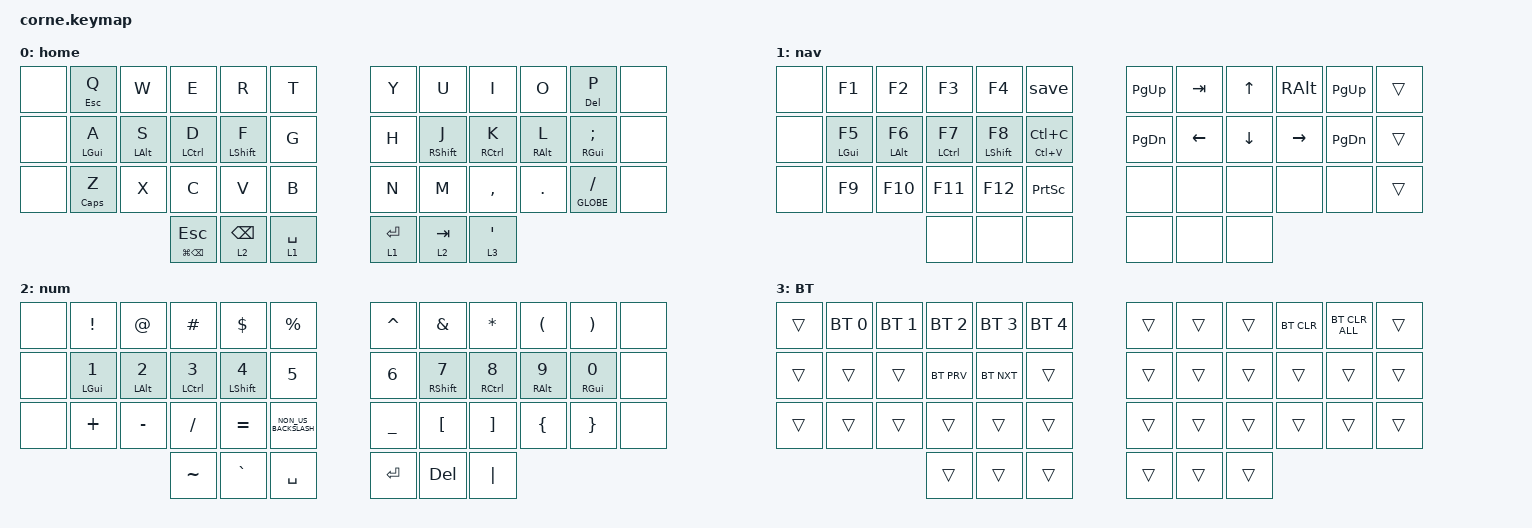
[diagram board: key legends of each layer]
#include <behaviors.dtsi>
#include <dt-bindings/zmk/bt.h>
#include <dt-bindings/zmk/keys.h>

#define DEF 0
#define NAV 1
#define SYM 2
#define ADJ 3
#define EXTRA 4

/ {
    behaviors {
        hm: homerow_mods {
            compatible = "zmk,behavior-hold-tap";
            label = "HOMEROW_MODS";
            #binding-cells = <2>;
            tapping-term-ms = <200>;
            quick_tap_ms = <0>;
            flavor = "tap-preferred";
            bindings = <&kp>, <&kp>;

            quick-tap-ms = <180>;
            global-quick-tap;
        };

        para: para {
            compatible = "zmk,behavior-tap-dance";
            label = "PARA";
            #binding-cells = <0>;
            bindings = <&kp LEFT_PARENTHESIS>, <&kp RIGHT_PARENTHESIS>;
        };

        caps: caps {
            compatible = "zmk,behavior-caps-word";
            label = "CAPS";
            #binding-cells = <0>;
            continue-list = <MINUS BACKSPACE>;
        };

        paraless: paraless {
            compatible = "zmk,behavior-mod-morph";
            label = "PARALESS";
            bindings = <&kp LEFT_PARENTHESIS>, <&kp LESS_THAN>;

            #binding-cells = <0>;
            mods = <(MOD_LSFT)>;
        };

        paragreat: paragreat {
            compatible = "zmk,behavior-mod-morph";
            label = "PARAGREAT";
            bindings = <&kp RIGHT_PARENTHESIS>, <&kp GREATER_THAN>;

            #binding-cells = <0>;
            mods = <(MOD_LSFT)>;
        };

        shifthr: shifthr {
            compatible = "zmk,behavior-hold-tap";
            label = "SHIFTHR";
            bindings = <&kp>, <&kp>;

            #binding-cells = <2>;
            tapping-term-ms = <185>;
            quick-tap-ms = <185>;
            flavor = "tap-preferred";
        };

        weak: weak {
            compatible = "zmk,behavior-hold-tap";
            label = "WEAK";
            bindings = <&kp>, <&kp>;

            #binding-cells = <2>;
            tapping-term-ms = <230>;
            quick-tap-ms = <230>;
            require-prior-idle-ms = <125>;
            flavor = "tap-preferred";
        };
    };

    macros {
        save: save {
            compatible = "zmk,behavior-macro";
            #binding-cells = <0>;
            bindings = <&kp LC(S)>;
            label = "SAVE";
        };
    };

    combos {
        compatible = "zmk,combos";

        under {
            bindings = <&kp UNDER>;
            key-positions = <20 8>;
        };

        minus {
            bindings = <&kp MINUS>;
            key-positions = <19 7>;
        };

        escape {
            bindings = <&kp ESCAPE>;
            key-positions = <16 4>;
        };

        caps {
            bindings = <&kp CAPS>;
            key-positions = <15 3>;
        };

        tilda {
            bindings = <&kt GRAVE>;
            key-positions = <2 14>;
        };
    };

    //

    keymap {
        compatible = "zmk,keymap";

        home {
            display-name = "home";

            // -----------------------------------------------------------------------------------------
            // |  Q  |  W  |  E  |  R  |  T  |   |  Y  |  U   |  I  |  O  |  P  |
            // |  A  |  S  |  D  |  F  |  G  |   |  H  |  J   |  K  |  L  |  ;  |
            // |  Z  |  X  |  C  |  V  |  B  |   |  N  |  M   |  ,  |  .  |  /  |
            // | GUI | CTRL | SHFT | LWR | SPC |   | ENT | RSE  | BKSP | ALT | ESC |

            bindings = <
&none  &weak ESCAPE Q  &kp W         &kp E                     &kp R                  &kp T          &kp Y        &kp U             &kp I             &kp O         &weak DEL P           &none
&none  &weak LGUI A    &weak LALT S  &shifthr LCTRL D          &shifthr LEFT_SHIFT F  &kp G          &kp H        &shifthr RSHFT J  &shifthr RCTRL K  &weak RALT L  &weak RGUI SEMICOLON  &none
&none  &weak CAPS Z    &kp X         &kp C                     &kp V                  &kp B          &kp N        &kp M             &kp COMMA         &kp DOT       &weak GLOBE SLASH     &none
                                     &hm LG(BACKSPACE) ESCAPE  &lt 2 BACKSPACE        &lt 1 SPACE    &lt 1 ENTER  &lt 2 TAB         &lt 3 SQT
            >;
        };

        nav {
            display-name = "nav";

            // -----------------------------------------------------------------------------------------
            // |  TAB |  !  |  @  |  #  |  $  |  %  |   |  ^  |  &  |  *  |  (  |  )  | BKSP |
            // | CTRL |     |     |     |     |     |   |  -  |  =  |  [  |  ]  |  \  |  `   |
            // | SHFT |     |     |     |     |     |   |  _  |  +  |  {  |  }  | "|" |  ~   |
            //                    | GUI |     | SPC |   | ENT |     | ALT |

            bindings = <
&none  &kp F1       &kp F2       &kp F3        &kp F4         &save              &kp PAGE_UP    &kp TAB         &kp UP_ARROW  &kp RALT   &kp PAGE_UP    &trans
&none  &hm LGUI F5  &hm LALT F6  &hm LCTRL F7  &hm LSHIFT F8  &hm LC(V) LC(C)    &kp PAGE_DOWN  &kp LEFT_ARROW  &kp DOWN      &kp RIGHT  &kp PAGE_DOWN  &trans
&none  &kp F9       &kp F10      &kp F11       &kp F12        &kp PSCRN          &none          &none           &none         &none      &none          &trans
                                 &none         &none          &none              &none          &none           &none
            >;
        };

        num {
            display-name = "num";

            // -----------------------------------------------------------------------------------------
            // |  TAB |  1  |  2  |  3  |  4  |  5  |   |  6  |  7  |  8  |  9  |  0  | BKSP |
            // | BTCLR| BT1 | BT2 | BT3 | BT4 | BT5 |   | LFT | DWN |  UP | RGT |     |      |
            // | SHFT |     |     |     |     |     |   |     |     |     |     |     |      |
            // | GUI | CTRL | SHFT | LWR | SPC |   | ENT | RSE  | BKSP | ALT | ESC |

            bindings = <
&none  &kp EXCLAMATION        &kp AT                 &kp POUND           &kp DOLLAR               &kp PERCENT             &kp CARET     &kp AMPERSAND             &kp STAR            &kp LEFT_PARENTHESIS  &kp RIGHT_PARENTHESIS   &none
&none  &hm LEFT_GUI NUMBER_1  &hm LEFT_ALT NUMBER_2  &hm LCTRL NUMBER_3  &hm LEFT_SHIFT NUMBER_4  &kp NUMBER_5            &kp NUMBER_6  &hm RIGHT_SHIFT NUMBER_7  &hm RCTRL NUMBER_8  &hm RALT NUMBER_9     &hm RIGHT_GUI NUMBER_0  &none
&none  &kp PLUS               &kp MINUS              &kp SLASH           &kp EQUAL                &kp NON_US_BACKSLASH    &kp UNDER     &kp LEFT_BRACKET          &kp RIGHT_BRACKET   &kp LEFT_BRACE        &kp RIGHT_BRACE         &none
                                                     &kp TILDE           &kp GRAVE                &kp SPACE               &kp RET       &kp DEL                   &kp PIPE
            >;
        };

        BT {
            bindings = <
&trans  &bt BT_SEL 0  &bt BT_SEL 1  &bt BT_SEL 2  &bt BT_SEL 3  &bt BT_SEL 4    &trans  &trans  &trans  &bt BT_CLR  &bt BT_CLR_ALL  &trans
&trans  &trans        &trans        &bt BT_PRV    &bt BT_NXT    &trans          &trans  &trans  &trans  &trans      &trans          &trans
&trans  &trans        &trans        &trans        &trans        &trans          &trans  &trans  &trans  &trans      &trans          &trans
                                    &trans        &trans        &trans          &trans  &trans  &trans
            >;
        };
    };

    conditional_layers { compatible = "zmk,conditional-layers"; };
};
